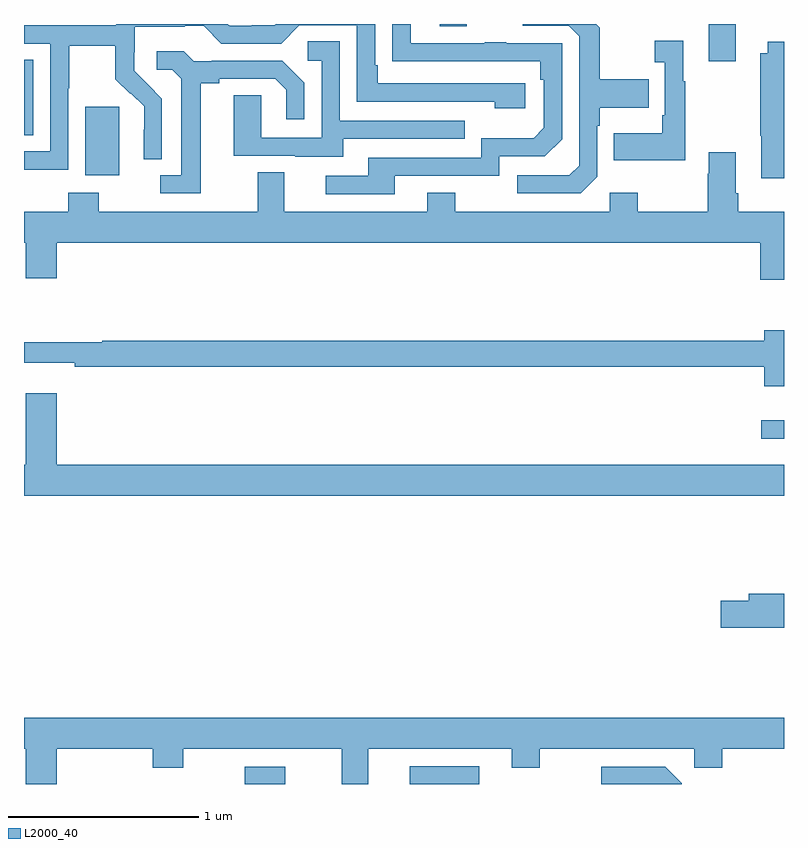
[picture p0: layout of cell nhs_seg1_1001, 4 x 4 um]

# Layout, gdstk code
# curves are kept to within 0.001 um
import gdstk
lib = gdstk.Library(unit=1e-6, precision=1e-09)
def R(c, l, rs):  # rectangles x0, y0, x1, y1
    for r in rs: c.add(gdstk.rectangle(r[:2], r[2:], *l))
def P(c, l, *ps):  # polygons
    for p in ps: c.add(gdstk.Polygon(p, *l))
L2000_40 = (2000, 40)

nhs_seg1_1001 = lib.new_cell('nhs_seg1_1001')
R(nhs_seg1_1001, L2000_40, [(166.161,566.199,166.375,566.289), (167.031,566.199,167.395,566.292), (168.879,568.016,169,568.113), (165.323,569.402,165.502,569.763), (165,569.614,165.049,570.011), (168.605,570.003,168.745,570.199), (167.189,570.186,167.329,570.199)])
P(nhs_seg1_1001, L2000_40, [(165.234,569.86),(165.237,569.86),(165.237,570.084),(165.481,570.084),(165.481,569.909),(165.558,569.832),(165.561,569.835),(165.632,569.765),(165.632,569.642),(165.63,569.642),(165.63,569.488),(165.726,569.488),(165.726,569.806),(165.58,569.954),(165.58,570.051),(165.582,570.051),(165.582,570.185),(165.845,570.185),(165.845,570.189),(165.945,570.189),(166.038,570.096),(166.353,570.096),(166.449,570.192),(166.752,570.192),(166.752,569.79),(167.477,569.79),(167.477,569.756),(167.638,569.756),(167.638,569.886),(166.861,569.886),(166.861,569.983),(166.848,569.983),(166.848,570.199),(166.324,570.199),(166.317,570.192),(166.199,570.192),(166.199,570.189),(166.083,570.189),(166.073,570.199),(165.486,570.199),(165.486,570.192),(165,570.192),(165,570.096),(165.138,570.096),(165.138,569.529),(165,569.529),(165,569.431),(165.234,569.431)],
  [(166.951,569.4),(167.502,569.4),(167.502,569.502),(167.742,569.502),(167.832,569.592),(167.832,570.099),(167.537,570.099),(167.537,570.104),(167.425,570.104),(167.425,570.099),(167.035,570.099),(167.035,570.199),(166.939,570.199),(166.939,570.004),(167.716,570.003),(167.716,569.906),(167.736,569.906),(167.736,569.652),(167.683,569.599),(167.406,569.599),(167.406,569.496),(166.811,569.496),(166.811,569.4),(166.587,569.4),(166.587,569.304),(166.951,569.304)],
  [(168.018,569.394),(168.018,569.663),(168.031,569.663),(168.031,569.759),(168.287,569.759),(168.287,569.907),(168.031,569.907),(168.031,570.179),(168.011,570.199),(167.625,570.199),(167.625,570.189),(167.868,570.189),(167.922,570.135),(167.922,569.454),(167.871,569.403),(167.595,569.403),(167.595,569.307),(167.931,569.307)],
  [(168.481,569.899),(168.469,569.899),(168.469,570.112),(168.321,570.112),(168.321,569.999),(168.372,569.999),(168.372,569.719),(168.36,569.719),(168.36,569.623),(168.103,569.623),(168.103,569.483),(168.481,569.483)],
  [(166.681,569.595),(167.321,569.595),(167.321,569.691),(166.662,569.691),(166.662,570.107),(166.494,570.107),(166.494,570.006),(166.566,570.006),(166.566,569.601),(166.248,569.601),(166.248,569.825),(166.103,569.825),(166.103,569.505),(166.427,569.505),(166.427,569.501),(166.681,569.501)],
  [(169,570.106),(168.914,570.106),(168.914,570.046),(168.874,570.046),(168.874,569.611),(168.881,569.611),(168.881,569.388),(169,569.388)],
  [(165.931,569.888),(166.027,569.888),(166.027,569.91),(166.322,569.91),(166.379,569.853),(166.379,569.697),(166.476,569.697),(166.476,569.89),(166.36,570.006),(165.988,570.006),(165.988,570.003),(165.894,570.003),(165.842,570.055),(165.699,570.055),(165.699,569.958),(165.78,569.958),(165.827,569.911),(165.827,569.403),(165.717,569.403),(165.717,569.307),(165.931,569.307)],
  [(169,569.212),(168.758,569.212),(168.758,569.308),(168.745,569.308),(168.745,569.524),(168.605,569.524),(168.605,569.411),(168.598,569.411),(168.598,569.212),(168.231,569.212),(168.231,569.311),(168.084,569.311),(168.084,569.212),(167.271,569.212),(167.271,569.311),(167.123,569.311),(167.123,569.212),(166.369,569.212),(166.369,569.42),(166.229,569.42),(166.229,569.212),(165.393,569.212),(165.393,569.311),(165.233,569.311),(165.233,569.212),(165,569.212),(165,569.048),(165.008,569.048),(165.008,568.86),(165.172,568.86),(165.172,569.048),(168.875,569.048),(168.875,568.854),(169,568.854)],
  [(169,568.588),(168.896,568.588),(168.896,568.532),(165.413,568.532),(165.413,568.525),(165,568.525),(165,568.415),(165.268,568.415),(165.268,568.396),(168.896,568.396),(168.896,568.292),(169,568.292)],
  [(169,567.88),(165.172,567.88),(165.172,568.255),(165.008,568.255),(165.008,567.88),(165,567.88),(165,567.716),(169,567.716)],
  [(169,567.2),(168.815,567.2),(168.815,567.164),(168.666,567.164),(168.666,567.022),(169,567.022)],
  [(165.172,566.384),(165.677,566.384),(165.677,566.285),(165.837,566.285),(165.837,566.384),(166.673,566.384),(166.673,566.199),(166.813,566.199),(166.813,566.384),(167.567,566.384),(167.567,566.285),(167.715,566.285),(167.715,566.384),(168.528,566.384),(168.528,566.285),(168.675,566.285),(168.675,566.384),(169,566.384),(169,566.548),(165,566.548),(165,566.384),(165.008,566.384),(165.008,566.199),(165.172,566.199)],
  [(168.462,566.202),(168.375,566.289),(168.039,566.289),(168.039,566.199),(168.462,566.199)])

lib.write_gds('nhs_seg1_1001.gds')
